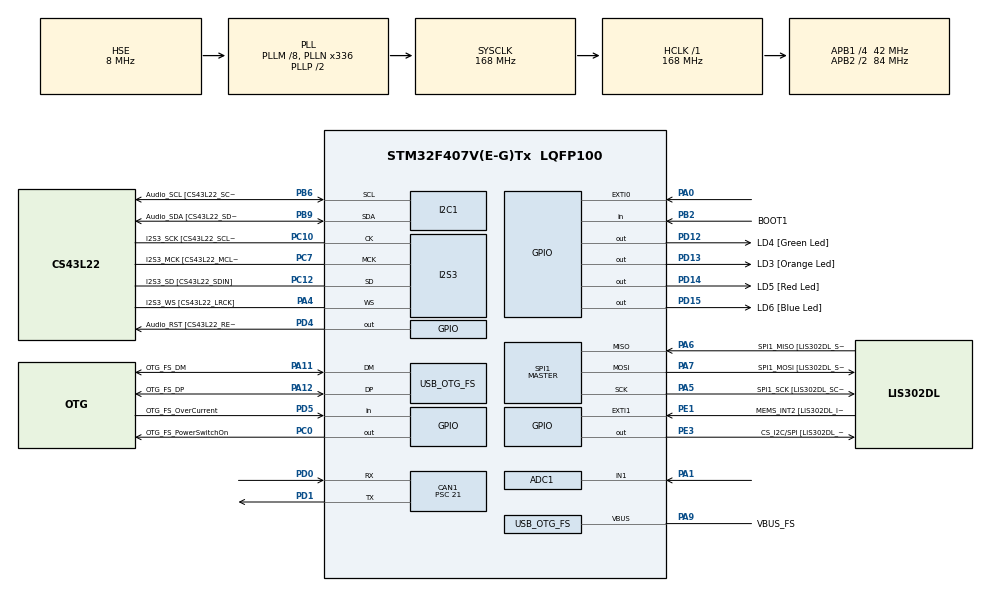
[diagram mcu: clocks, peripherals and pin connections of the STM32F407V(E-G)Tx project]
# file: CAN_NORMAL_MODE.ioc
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ADC1.Channel-0\#ChannelRegularConversion=ADC_CHANNEL_1
ADC1.NbrOfConversionFlag=1
ADC1.Rank-0\#ChannelRegularConversion=1
ADC1.SamplingTime-0\#ChannelRegularConversion=ADC_SAMPLETIME_15CYCLES
ADC1.master=1
CAN1.BS1=CAN_BS1_2TQ
CAN1.CalculateBaudRate=500000
CAN1.CalculateTimeBit=2000
CAN1.CalculateTimeQuantum=500.0
CAN1.Prescaler=21
I2S3.AudioFreq-Half_Duplex_Master=I2S_AUDIOFREQ_96K
I2S3.ErrorAudioFreq=-2.34 %
I2S3.ErrorAudioFreq-Half_Duplex_Master=0.8 %
I2S3.FullDuplexMode=I2S_FULLDUPLEXMODE_DISABLE
I2S3.Instance=SPI$Index
I2S3.RealAudioFreq=93.75 KHz
I2S3.RealAudioFreq-Half_Duplex_Master=96.774 KHz
I2S3.VirtualMode=I2S_MODE_MASTER
Mcu.Family=STM32F4
Mcu.Name=STM32F407V(E-G)Tx
Mcu.Package=LQFP100
NVIC.CAN1_RX0_IRQn=true\:0\:0\:false\:false\:true\:true\:true\:true
NVIC.EXTI0_IRQn=true\:0\:0\:false\:false\:true\:true\:true\:true
NVIC.OTG_FS_IRQn=true\:0\:0\:false\:false\:true\:true\:true\:true
NVIC.PriorityGroup=NVIC_PRIORITYGROUP_0
PA0-WKUP.Signal=GPXTI0
PA1.Signal=ADCx_IN1
PA10.GPIO_Label=OTG_FS_ID
PA10.GPIO_Mode=GPIO_MODE_AF_PP
PA10.GPIO_PuPd=GPIO_NOPULL
PA10.GPIO_Speed=GPIO_SPEED_FREQ_LOW
PA10.Signal=USB_OTG_FS_ID
PA11.GPIO_Label=OTG_FS_DM
PA11.GPIO_Mode=GPIO_MODE_AF_PP
PA11.GPIO_PuPd=GPIO_NOPULL
PA11.GPIO_Speed=GPIO_SPEED_FREQ_LOW
PA11.Mode=Host_Only
PA11.Signal=USB_OTG_FS_DM
PA12.GPIO_Label=OTG_FS_DP
PA12.GPIO_Mode=GPIO_MODE_AF_PP
PA12.GPIO_PuPd=GPIO_NOPULL
PA12.GPIO_Speed=GPIO_SPEED_FREQ_LOW
PA12.Mode=Host_Only
PA12.Signal=USB_OTG_FS_DP
PA13.GPIO_Label=SWDIO
PA13.Mode=Serial_Wire
PA13.Signal=SYS_JTMS-SWDIO
PA14.GPIO_Label=SWCLK
PA14.Mode=Serial_Wire
PA14.Signal=SYS_JTCK-SWCLK
PA4.GPIO_Label=I2S3_WS [CS43L22_LRCK]
PA4.GPIO_Mode=GPIO_MODE_AF_PP
PA4.GPIO_PuPd=GPIO_NOPULL
PA4.GPIO_Speed=GPIO_SPEED_FREQ_LOW
PA4.Mode=Half_Duplex_Master
PA4.Signal=I2S3_WS
PA5.GPIO_Label=SPI1_SCK [LIS302DL_SCL/SPC]
PA5.GPIO_Mode=GPIO_MODE_AF_PP
PA5.GPIO_PuPd=GPIO_NOPULL
PA5.GPIO_Speed=GPIO_SPEED_FREQ_LOW
PA5.Mode=Full_Duplex_Master
PA5.Signal=SPI1_SCK
PA6.GPIO_Label=SPI1_MISO [LIS302DL_SDO]
PA6.GPIO_Mode=GPIO_MODE_AF_PP
PA6.GPIO_PuPd=GPIO_NOPULL
PA6.GPIO_Speed=GPIO_SPEED_FREQ_LOW
PA6.Mode=Full_Duplex_Master
PA6.Signal=SPI1_MISO
PA7.GPIO_Label=SPI1_MOSI [LIS302DL_SDA/SDI/SDO]
PA7.GPIO_Mode=GPIO_MODE_AF_PP
PA7.GPIO_PuPd=GPIO_NOPULL
PA7.GPIO_Speed=GPIO_SPEED_FREQ_LOW
PA7.Mode=Full_Duplex_Master
PA7.Signal=SPI1_MOSI
PA9.GPIO_Label=VBUS_FS
PA9.GPIO_Mode=GPIO_MODE_INPUT
PA9.GPIO_PuPd=GPIO_NOPULL
PA9.Mode=Activate_VBUS
PA9.Signal=USB_OTG_FS_VBUS
PB10.GPIO_Label=CLK_IN [MP45DT02_CLK]
PB10.GPIO_Mode=GPIO_MODE_AF_PP
PB10.GPIO_PuPd=GPIO_NOPULL
PB10.GPIO_Speed=GPIO_SPEED_FREQ_LOW
PB10.Signal=I2S2_CK
PB2.GPIO_Label=BOOT1
PB2.GPIO_Mode=GPIO_MODE_INPUT
PB2.GPIO_PuPd=GPIO_NOPULL
PB2.Signal=GPIO_Input
PB3.GPIO_Label=SWO
PB3.Signal=SYS_JTDO-SWO
PB6.GPIO_Label=Audio_SCL [CS43L22_SCL]
PB6.GPIO_Mode=GPIO_MODE_AF_OD
PB6.GPIO_Pu=GPIO_PULLUP
PB6.GPIO_PuPd=GPIO_NOPULL
PB6.GPIO_Speed=GPIO_SPEED_FREQ_LOW
PB6.Mode=I2C
PB6.Signal=I2C1_SCL
PB9.GPIO_Label=Audio_SDA [CS43L22_SDA]
PB9.GPIO_Mode=GPIO_MODE_AF_OD
PB9.GPIO_Pu=GPIO_PULLUP
PB9.GPIO_PuPd=GPIO_NOPULL
PB9.GPIO_Speed=GPIO_SPEED_FREQ_LOW
PB9.Mode=I2C
PB9.Signal=I2C1_SDA
PC0.GPIO_Label=OTG_FS_PowerSwitchOn
PC0.GPIO_PuPd=GPIO_NOPULL
PC0.GPIO_Speed=GPIO_SPEED_FREQ_LOW
PC0.PinState=GPIO_PIN_SET
PC0.Signal=GPIO_Output
PC10.GPIO_Label=I2S3_SCK [CS43L22_SCLK]
PC10.GPIO_Mode=GPIO_MODE_AF_PP
PC10.GPIO_PuPd=GPIO_NOPULL
PC10.GPIO_Speed=GPIO_SPEED_FREQ_LOW
PC10.Mode=Half_Duplex_Master
PC10.Signal=I2S3_CK
PC12.GPIO_Label=I2S3_SD [CS43L22_SDIN]
PC12.GPIO_Mode=GPIO_MODE_AF_PP
PC12.GPIO_PuPd=GPIO_NOPULL
PC12.GPIO_Speed=GPIO_SPEED_FREQ_LOW
PC12.Mode=Half_Duplex_Master
PC12.Signal=I2S3_SD
PC14-OSC32_IN.GPIO_Label=PC14-OSC32_IN
PC14-OSC32_IN.Mode=LSE-External-Oscillator
PC14-OSC32_IN.Signal=RCC_OSC32_IN
PC15-OSC32_OUT.GPIO_Label=PC15-OSC32_OUT
PC15-OSC32_OUT.Mode=LSE-External-Oscillator
PC15-OSC32_OUT.Signal=RCC_OSC32_OUT
PC3.GPIO_Label=PDM_OUT [MP45DT02_DOUT]
PC3.GPIO_Mode=GPIO_MODE_AF_PP
PC3.GPIO_PuPd=GPIO_NOPULL
PC3.GPIO_Speed=GPIO_SPEED_FREQ_LOW
PC3.Signal=I2S2_SD
PC7.GPIO_Label=I2S3_MCK [CS43L22_MCLK]
PC7.GPIO_Mode=GPIO_MODE_AF_PP
PC7.GPIO_PuPd=GPIO_NOPULL
PC7.GPIO_Speed=GPIO_SPEED_FREQ_LOW
PC7.Mode=Master_Clock_Activated
PC7.Signal=I2S3_MCK
PD0.GPIO_PuPd=GPIO_PULLUP
PD0.Mode=CAN_Activate
PD0.Signal=CAN1_RX
PD1.Mode=CAN_Activate
PD1.Signal=CAN1_TX
PD12.GPIO_Label=LD4 [Green Led]
PD12.GPIO_PuPd=GPIO_NOPULL
PD12.GPIO_Speed=GPIO_SPEED_FREQ_LOW
PD12.Signal=GPIO_Output
PD13.GPIO_Label=LD3 [Orange Led]
PD13.GPIO_PuPd=GPIO_NOPULL
PD13.GPIO_Speed=GPIO_SPEED_FREQ_LOW
PD13.Signal=GPIO_Output
PD14.GPIO_Label=LD5 [Red Led]
PD14.GPIO_PuPd=GPIO_NOPULL
PD14.GPIO_Speed=GPIO_SPEED_FREQ_LOW
PD14.Signal=GPIO_Output
PD15.GPIO_Label=LD6 [Blue Led]
PD15.GPIO_PuPd=GPIO_NOPULL
PD15.GPIO_Speed=GPIO_SPEED_FREQ_LOW
PD15.Signal=GPIO_Output
PD4.GPIO_Label=Audio_RST [CS43L22_RESET]
PD4.GPIO_PuPd=GPIO_NOPULL
PD4.GPIO_Speed=GPIO_SPEED_FREQ_LOW
PD4.Signal=GPIO_Output
PD5.GPIO_Label=OTG_FS_OverCurrent
PD5.GPIO_Mode=GPIO_MODE_INPUT
PD5.GPIO_PuPd=GPIO_NOPULL
PD5.Signal=GPIO_Input
PE1.GPIO_Label=MEMS_INT2 [LIS302DL_INT2]
PE1.GPIO_ModeDefaultEXTI=GPIO_MODE_EVT_RISING
PE1.GPIO_PuPd=GPIO_NOPULL
PE1.Signal=GPXTI1
PE3.GPIO_Label=CS_I2C/SPI [LIS302DL_CS_I2C/SPI]
PE3.GPIO_PuPd=GPIO_NOPULL
PE3.GPIO_Speed=GPIO_SPEED_FREQ_LOW
PE3.Signal=GPIO_Output
PH0-OSC_IN.GPIO_Label=PH0-OSC_IN
PH0-OSC_IN.Mode=HSE-External-Oscillator
PH0-OSC_IN.Signal=RCC_OSC_IN
PH1-OSC_OUT.GPIO_Label=PH1-OSC_OUT
PH1-OSC_OUT.Mode=HSE-External-Oscillator
PH1-OSC_OUT.Signal=RCC_OSC_OUT
ProjectManager.HeapSize=0x200
ProjectManager.StackSize=0x400
ProjectManager.TargetToolchain=STM32CubeIDE
RCC.48MHZClocksFreq_Value=48000000
RCC.AHBFreq_Value=168000000
RCC.APB1CLKDivider=RCC_HCLK_DIV4
RCC.APB1Freq_Value=42000000
RCC.APB1TimFreq_Value=84000000
RCC.APB2CLKDivider=RCC_HCLK_DIV2
RCC.APB2Freq_Value=84000000
RCC.APB2TimFreq_Value=168000000
RCC.CortexFreq_Value=168000000
RCC.HCLKFreq_Value=168000000
RCC.HSE_VALUE=8000000
RCC.HSI_VALUE=16000000
RCC.PLLM=8
RCC.PLLN=336
RCC.PLLQ=7
RCC.SYSCLKFreq_VALUE=168000000
RCC.SYSCLKSource=RCC_SYSCLKSOURCE_PLLCLK
RCC.VCOOutputFreq_Value=336000000
SH.ADCx_IN1.0=ADC1_IN1,IN1
SPI1.BaudRatePrescaler-Full_Duplex_Master=SPI_BAUDRATEPRESCALER_2
SPI1.CalculateBaudRate-Full_Duplex_Master=42.0 MBits/s
SPI1.Direction=SPI_DIRECTION_2LINES
SPI1.Mode=SPI_MODE_MASTER
SPI1.Mode-Full_Duplex_Master=SPI_MODE_MASTER
SPI1.VirtualType=VM_MASTER
USB_HOST.BSP.number=1
USB_HOST.USBH_HandleTypeDef-CDC_FS=hUsbHostFS
USB_HOST.VirtualModeFS=Cdc
USB_HOST0.BSP.STBoard=false
USB_HOST0.BSP.api=Unknown
USB_HOST0.BSP.instance=PC0
USB_HOST0.BSP.ip=GPIO
USB_HOST0.BSP.mode=Output
USB_HOST0.BSP.name=Drive_VBUS_FS
USB_HOST0.BSP.solution=PC0
USB_OTG_FS.VirtualMode=Host_Only
USB_OTG_FS.phy_itface=HCD_PHY_EMBEDDED
VP_USB_HOST_VS_USB_HOST_CDC_FS.Mode=CDC_FS
board=STM32F407G-DISC1

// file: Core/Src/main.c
/* USER CODE BEGIN Header */
/**
  ******************************************************************************
  * @file           : main.c
  * @brief          : Main program body
  ******************************************************************************
  * @attention
  *
  * Copyright (c) 2025 STMicroelectronics.
  * All rights reserved.
  *
  * This software is licensed under terms that can be found in the LICENSE file
  * in the root directory of this software component.
  * If no LICENSE file comes with this software, it is provided AS-IS.
  *
  ******************************************************************************
  */
/* USER CODE END Header */
#include "main.h"
#include "usb_host.h"
#include<stdio.h>

ADC_HandleTypeDef hadc1;

CAN_HandleTypeDef hcan1;

I2C_HandleTypeDef hi2c1;

I2S_HandleTypeDef hi2s3;

SPI_HandleTypeDef hspi1;

void SystemClock_Config(void);
static void MX_GPIO_Init(void);
static void MX_I2C1_Init(void);
static void MX_I2S3_Init(void);
static void MX_SPI1_Init(void);
static void MX_CAN1_Init(void);
static void MX_ADC1_Init(void);
void MX_USB_HOST_Process(void);

/* USER CODE BEGIN 0 */

CAN_TxHeaderTypeDef TxHeader;
CAN_RxHeaderTypeDef RxHeader;

uint8_t TxData[8];
uint8_t RxData[8];

uint32_t TxMailbox;

uint16_t Pot=0;

int datacheck =0;

//called when button is pressed
void HAL_GPIO_EXTI_Callback(uint16_t GPIO_PIN)
{
	if (GPIO_PIN == GPIO_PIN_0)
	{
		TxData[0]=100;
        if (HAL_CAN_AddTxMessage(&hcan1, &TxHeader, TxData, &TxMailbox) == HAL_OK)
        {
        	datacheck=1;
        }
	}

}

//Not used in transmission
void HAL_CAN_RxFifo0MsgPendingCallback(CAN_HandleTypeDef *hcan)
{
	HAL_CAN_GetRxMessage(hcan, CAN_RX_FIFO0, &RxHeader, RxData);

	 datacheck=1;

}

/* USER CODE END 0 */

int main(void)
{

  /* MCU Configuration--------------------------------------------------------*/

  /* Reset of all peripherals, Initializes the Flash interface and the Systick. */
  HAL_Init();

  /* Configure the system clock */
  SystemClock_Config();

  /* Initialize all configured peripherals */
  MX_GPIO_Init();
  MX_I2C1_Init();
  MX_I2S3_Init();
  MX_SPI1_Init();
  MX_USB_HOST_Init();
  MX_CAN1_Init();
  MX_ADC1_Init();
  /* USER CODE BEGIN 2 */

  HAL_CAN_Start(&hcan1);
  //Activate Notification

  HAL_CAN_ActivateNotification(&hcan1, CAN_IT_RX_FIFO0_MSG_PENDING);

  TxHeader.DLC=2;
  TxHeader.IDE= CAN_ID_STD;
  TxHeader.RTR=CAN_RTR_DATA;
  TxHeader.StdId= 0x446;

  /* USER CODE END 2 */

  /* Infinite loop */
  /* USER CODE BEGIN WHILE */
  //TxData[0]=100;
  //TxData[1]=200;
  while (1)
  {
    /* USER CODE END WHILE */
    MX_USB_HOST_Process();

    /* USER CODE BEGIN 3 */
    HAL_CAN_Start(&hcan1);
    //HAL_ADC_Start(&hadc1);
    //HAL_ADC_PollForConversion(&hadc1, 20);
   // Pot = HAL_ADC_GetValue(&hadc1);
    //TxData[0] = (Pot >> 8) & 0xFF;  // High byte (MSB)
    //TxData[1] = Pot & 0xFF;         // Low byte (LSB)

    if (datacheck)
    {
    	//Blink Led

        HAL_GPIO_TogglePin(GPIOD, GPIO_PIN_13);  // Toggle LED
        HAL_Delay(100);  // Small delay for visibility
        HAL_GPIO_TogglePin(GPIOD, GPIO_PIN_13);  // Toggle LED back
        HAL_Delay(100);
    }

    datacheck=0;
    HAL_Delay(500);

  }
  /* USER CODE END 3 */
}

void SystemClock_Config(void)
{
  RCC_OscInitTypeDef RCC_OscInitStruct = {0};
  RCC_ClkInitTypeDef RCC_ClkInitStruct = {0};

  /** Configure the main internal regulator output voltage
  */
  __HAL_RCC_PWR_CLK_ENABLE();
  __HAL_PWR_VOLTAGESCALING_CONFIG(PWR_REGULATOR_VOLTAGE_SCALE1);

  /** Initializes the RCC Oscillators according to the specified parameters
  * in the RCC_OscInitTypeDef structure.
  */
  RCC_OscInitStruct.OscillatorType = RCC_OSCILLATORTYPE_HSE;
  RCC_OscInitStruct.HSEState = RCC_HSE_ON;
  RCC_OscInitStruct.PLL.PLLState = RCC_PLL_ON;
  RCC_OscInitStruct.PLL.PLLSource = RCC_PLLSOURCE_HSE;
  RCC_OscInitStruct.PLL.PLLM = 8;
  RCC_OscInitStruct.PLL.PLLN = 336;
  RCC_OscInitStruct.PLL.PLLP = RCC_PLLP_DIV2;
  RCC_OscInitStruct.PLL.PLLQ = 7;
  if (HAL_RCC_OscConfig(&RCC_OscInitStruct) != HAL_OK)
  {
    Error_Handler();
  }

  /** Initializes the CPU, AHB and APB buses clocks
  */
  RCC_ClkInitStruct.ClockType = RCC_CLOCKTYPE_HCLK|RCC_CLOCKTYPE_SYSCLK
                              |RCC_CLOCKTYPE_PCLK1|RCC_CLOCKTYPE_PCLK2;
  RCC_ClkInitStruct.SYSCLKSource = RCC_SYSCLKSOURCE_PLLCLK;
  RCC_ClkInitStruct.AHBCLKDivider = RCC_SYSCLK_DIV1;
  RCC_ClkInitStruct.APB1CLKDivider = RCC_HCLK_DIV4;
  RCC_ClkInitStruct.APB2CLKDivider = RCC_HCLK_DIV2;

  if (HAL_RCC_ClockConfig(&RCC_ClkInitStruct, FLASH_LATENCY_5) != HAL_OK)
  {
    Error_Handler();
  }
}

static void MX_ADC1_Init(void)
{

  ADC_ChannelConfTypeDef sConfig = {0};

  /** Configure the global features of the ADC (Clock, Resolution, Data Alignment and number of conversion)
  */
  hadc1.Instance = ADC1;
  hadc1.Init.ClockPrescaler = ADC_CLOCK_SYNC_PCLK_DIV4;
  hadc1.Init.Resolution = ADC_RESOLUTION_12B;
  hadc1.Init.ScanConvMode = DISABLE;
  hadc1.Init.ContinuousConvMode = ENABLE;
  hadc1.Init.DiscontinuousConvMode = DISABLE;
  hadc1.Init.ExternalTrigConvEdge = ADC_EXTERNALTRIGCONVEDGE_NONE;
  hadc1.Init.ExternalTrigConv = ADC_SOFTWARE_START;
  hadc1.Init.DataAlign = ADC_DATAALIGN_RIGHT;
  hadc1.Init.NbrOfConversion = 1;
  hadc1.Init.DMAContinuousRequests = DISABLE;
  hadc1.Init.EOCSelection = ADC_EOC_SINGLE_CONV;
  if (HAL_ADC_Init(&hadc1) != HAL_OK)
  {
    Error_Handler();
  }

  /** Configure for the selected ADC regular channel its corresponding rank in the sequencer and its sample time.
  */
  sConfig.Channel = ADC_CHANNEL_1;
  sConfig.Rank = 1;
  sConfig.SamplingTime = ADC_SAMPLETIME_15CYCLES;
  if (HAL_ADC_ConfigChannel(&hadc1, &sConfig) != HAL_OK)
  {
    Error_Handler();
  }

}

static void MX_CAN1_Init(void)
{

  hcan1.Instance = CAN1;
  hcan1.Init.Prescaler = 21;
  hcan1.Init.Mode = CAN_MODE_NORMAL;
  hcan1.Init.SyncJumpWidth = CAN_SJW_1TQ;
  hcan1.Init.TimeSeg1 = CAN_BS1_2TQ;
  hcan1.Init.TimeSeg2 = CAN_BS2_1TQ;
  hcan1.Init.TimeTriggeredMode = DISABLE;
  hcan1.Init.AutoBusOff = DISABLE;
  hcan1.Init.AutoWakeUp = DISABLE;
  hcan1.Init.AutoRetransmission = DISABLE;
  hcan1.Init.ReceiveFifoLocked = DISABLE;
  hcan1.Init.TransmitFifoPriority = DISABLE;
  if (HAL_CAN_Init(&hcan1) != HAL_OK)
  {
    Error_Handler();
  }
  /* USER CODE BEGIN CAN1_Init 2 */
  CAN_FilterTypeDef canfilterconfig;

  canfilterconfig.FilterActivation=CAN_FILTER_ENABLE;
  canfilterconfig.FilterBank=18;
  canfilterconfig.FilterFIFOAssignment=CAN_FILTER_FIFO0;
  canfilterconfig.FilterIdHigh=0x0000;
  canfilterconfig.FilterIdLow=0;
  canfilterconfig.FilterMaskIdHigh=0x0000;
  canfilterconfig.FilterMaskIdLow=0x0000;
  canfilterconfig.FilterMode=CAN_FILTERMODE_IDMASK;
  canfilterconfig.FilterScale=CAN_FILTERSCALE_32BIT;
  canfilterconfig.SlaveStartFilterBank=20;//doesnt matter

  HAL_CAN_ConfigFilter(&hcan1, &canfilterconfig);

  /* USER CODE END CAN1_Init 2 */

}

static void MX_I2C1_Init(void)
{

  hi2c1.Instance = I2C1;
  hi2c1.Init.ClockSpeed = 100000;
  hi2c1.Init.DutyCycle = I2C_DUTYCYCLE_2;
  hi2c1.Init.OwnAddress1 = 0;
  hi2c1.Init.AddressingMode = I2C_ADDRESSINGMODE_7BIT;
  hi2c1.Init.DualAddressMode = I2C_DUALADDRESS_DISABLE;
  hi2c1.Init.OwnAddress2 = 0;
  hi2c1.Init.GeneralCallMode = I2C_GENERALCALL_DISABLE;
  hi2c1.Init.NoStretchMode = I2C_NOSTRETCH_DISABLE;
  if (HAL_I2C_Init(&hi2c1) != HAL_OK)
  {
    Error_Handler();
  }

}

static void MX_I2S3_Init(void)
{

  hi2s3.Instance = SPI3;
  hi2s3.Init.Mode = I2S_MODE_MASTER_TX;
  hi2s3.Init.Standard = I2S_STANDARD_PHILIPS;
  hi2s3.Init.DataFormat = I2S_DATAFORMAT_16B;
  hi2s3.Init.MCLKOutput = I2S_MCLKOUTPUT_ENABLE;
  hi2s3.Init.AudioFreq = I2S_AUDIOFREQ_96K;
  hi2s3.Init.CPOL = I2S_CPOL_LOW;
  hi2s3.Init.ClockSource = I2S_CLOCK_PLL;
  hi2s3.Init.FullDuplexMode = I2S_FULLDUPLEXMODE_DISABLE;
  if (HAL_I2S_Init(&hi2s3) != HAL_OK)
  {
    Error_Handler();
  }

}

static void MX_SPI1_Init(void)
{

  /* SPI1 parameter configuration*/
  hspi1.Instance = SPI1;
  hspi1.Init.Mode = SPI_MODE_MASTER;
  hspi1.Init.Direction = SPI_DIRECTION_2LINES;
  hspi1.Init.DataSize = SPI_DATASIZE_8BIT;
  hspi1.Init.CLKPolarity = SPI_POLARITY_LOW;
  hspi1.Init.CLKPhase = SPI_PHASE_1EDGE;
  hspi1.Init.NSS = SPI_NSS_SOFT;
  hspi1.Init.BaudRatePrescaler = SPI_BAUDRATEPRESCALER_2;
  hspi1.Init.FirstBit = SPI_FIRSTBIT_MSB;
  hspi1.Init.TIMode = SPI_TIMODE_DISABLE;
  hspi1.Init.CRCCalculation = SPI_CRCCALCULATION_DISABLE;
  hspi1.Init.CRCPolynomial = 10;
  if (HAL_SPI_Init(&hspi1) != HAL_OK)
  {
    Error_Handler();
  }

}

static void MX_GPIO_Init(void)
{
  GPIO_InitTypeDef GPIO_InitStruct = {0};

  /* GPIO Ports Clock Enable */
  __HAL_RCC_GPIOE_CLK_ENABLE();
  __HAL_RCC_GPIOC_CLK_ENABLE();
  __HAL_RCC_GPIOH_CLK_ENABLE();
  __HAL_RCC_GPIOA_CLK_ENABLE();
  __HAL_RCC_GPIOB_CLK_ENABLE();
  __HAL_RCC_GPIOD_CLK_ENABLE();

  /*Configure GPIO pin Output Level */
  HAL_GPIO_WritePin(CS_I2C_SPI_GPIO_Port, CS_I2C_SPI_Pin, GPIO_PIN_RESET);

  /*Configure GPIO pin Output Level */
  HAL_GPIO_WritePin(OTG_FS_PowerSwitchOn_GPIO_Port, OTG_FS_PowerSwitchOn_Pin, GPIO_PIN_SET);

  /*Configure GPIO pin Output Level */
  HAL_GPIO_WritePin(GPIOD, LD4_Pin|LD3_Pin|LD5_Pin|LD6_Pin
                          |Audio_RST_Pin, GPIO_PIN_RESET);

  /*Configure GPIO pin : CS_I2C_SPI_Pin */
  GPIO_InitStruct.Pin = CS_I2C_SPI_Pin;
  GPIO_InitStruct.Mode = GPIO_MODE_OUTPUT_PP;
  GPIO_InitStruct.Pull = GPIO_NOPULL;
  GPIO_InitStruct.Speed = GPIO_SPEED_FREQ_LOW;
  HAL_GPIO_Init(CS_I2C_SPI_GPIO_Port, &GPIO_InitStruct);

  /*Configure GPIO pin : OTG_FS_PowerSwitchOn_Pin */
  GPIO_InitStruct.Pin = OTG_FS_PowerSwitchOn_Pin;
  GPIO_InitStruct.Mode = GPIO_MODE_OUTPUT_PP;
  GPIO_InitStruct.Pull = GPIO_NOPULL;
  GPIO_InitStruct.Speed = GPIO_SPEED_FREQ_LOW;
  HAL_GPIO_Init(OTG_FS_PowerSwitchOn_GPIO_Port, &GPIO_InitStruct);

  /*Configure GPIO pin : PDM_OUT_Pin */
  GPIO_InitStruct.Pin = PDM_OUT_Pin;
  GPIO_InitStruct.Mode = GPIO_MODE_AF_PP;
  GPIO_InitStruct.Pull = GPIO_NOPULL;
  GPIO_InitStruct.Speed = GPIO_SPEED_FREQ_LOW;
  GPIO_InitStruct.Alternate = GPIO_AF5_SPI2;
  HAL_GPIO_Init(PDM_OUT_GPIO_Port, &GPIO_InitStruct);

  /*Configure GPIO pin : PA0 */
  GPIO_InitStruct.Pin = GPIO_PIN_0;
  GPIO_InitStruct.Mode = GPIO_MODE_IT_RISING;
  GPIO_InitStruct.Pull = GPIO_NOPULL;
  HAL_GPIO_Init(GPIOA, &GPIO_InitStruct);

  /*Configure GPIO pin : BOOT1_Pin */
  GPIO_InitStruct.Pin = BOOT1_Pin;
  GPIO_InitStruct.Mode = GPIO_MODE_INPUT;
  GPIO_InitStruct.Pull = GPIO_NOPULL;
  HAL_GPIO_Init(BOOT1_GPIO_Port, &GPIO_InitStruct);

  /*Configure GPIO pin : CLK_IN_Pin */
  GPIO_InitStruct.Pin = CLK_IN_Pin;
  GPIO_InitStruct.Mode = GPIO_MODE_AF_PP;
  GPIO_InitStruct.Pull = GPIO_NOPULL;
  GPIO_InitStruct.Speed = GPIO_SPEED_FREQ_LOW;
  GPIO_InitStruct.Alternate = GPIO_AF5_SPI2;
  HAL_GPIO_Init(CLK_IN_GPIO_Port, &GPIO_InitStruct);

  /*Configure GPIO pins : LD4_Pin LD3_Pin LD5_Pin LD6_Pin
                           Audio_RST_Pin */
  GPIO_InitStruct.Pin = LD4_Pin|LD3_Pin|LD5_Pin|LD6_Pin
                          |Audio_RST_Pin;
  GPIO_InitStruct.Mode = GPIO_MODE_OUTPUT_PP;
  GPIO_InitStruct.Pull = GPIO_NOPULL;
  GPIO_InitStruct.Speed = GPIO_SPEED_FREQ_LOW;
  HAL_GPIO_Init(GPIOD, &GPIO_InitStruct);

  /*Configure GPIO pin : OTG_FS_OverCurrent_Pin */
  GPIO_InitStruct.Pin = OTG_FS_OverCurrent_Pin;
  GPIO_InitStruct.Mode = GPIO_MODE_INPUT;
  GPIO_InitStruct.Pull = GPIO_NOPULL;
  HAL_GPIO_Init(OTG_FS_OverCurrent_GPIO_Port, &GPIO_InitStruct);

  GPIO_InitStruct.Pin = GPIO_PIN_1;
  GPIO_InitStruct.Mode = GPIO_MODE_ANALOG;
  GPIO_InitStruct.Pull = GPIO_NOPULL;
  HAL_GPIO_Init(GPIOA, &GPIO_InitStruct);

  /*Configure GPIO pin : MEMS_INT2_Pin */
  GPIO_InitStruct.Pin = MEMS_INT2_Pin;
  GPIO_InitStruct.Mode = GPIO_MODE_EVT_RISING;
  GPIO_InitStruct.Pull = GPIO_NOPULL;
  HAL_GPIO_Init(MEMS_INT2_GPIO_Port, &GPIO_InitStruct);

  /* EXTI interrupt init*/
  HAL_NVIC_SetPriority(EXTI0_IRQn, 0, 0);
  HAL_NVIC_EnableIRQ(EXTI0_IRQn);

}

void Error_Handler(void)
{
  __disable_irq();
  while (1)
  {
  }
}
